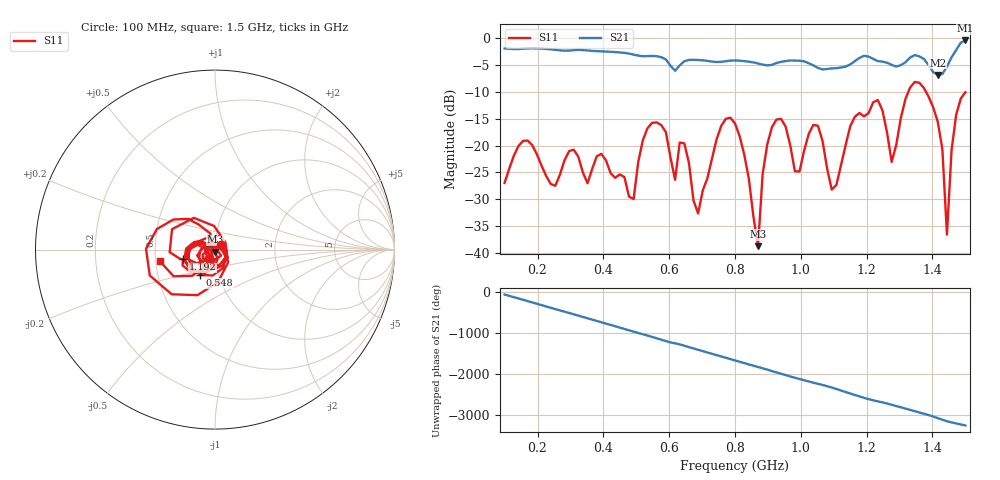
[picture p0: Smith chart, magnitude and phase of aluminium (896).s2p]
! NanoVNA-App
! Date: 2025-09-25 15:02:15
! Start: 100MHz Stop: 1,5GHz Points: 101
! S-Parameter data: F S11 S21 S12 S22
# Hz S RI R 50
!  Frequency  S11_Real  S11_Imag  S21_Real  S21_Imag  S12_Real  S12_Imag  S22_Real  S22_Imag
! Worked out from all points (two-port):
!   101 points, 100 MHz to 1.5 GHz, reference 50 ohm
!   highest |S21| = -0.43 dB at 1.5 GHz (marker M1); lowest = -6.9 dB at 1.416 GHz (marker M2)
!   |S21| within 3 dB of the highest: start of sweep to 567.2 MHz; 1.459 GHz to end of sweep (the widest 2 of 4)
!   lowest |S11| = -38.7 dB at 870 MHz (marker M3), VSWR 1.02, Z = 50.2 - j1.14 ohm
!   |S11| at or under -10 dB: start of sweep to 1.327 GHz; 1.38 GHz to end of sweep
!   S12 and S22 are empty: the file has one direction only
!   S11 on the Smith chart (normalised r, x): 100 MHz: 1.07, +0.06; 548 MHz: 0.82, -0.24; 1.192 GHz: 0.69, -0.08; 1.5 GHz: 0.53, -0.08
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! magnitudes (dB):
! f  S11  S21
! 100 MHz  -27.0  -1.9
! 156 MHz  -19.1  -2.0
! 338 MHz  -25.1  -2.2
! 492 MHz  -30.0  -3.1
! 548 MHz  -15.8  -3.3
! 576 MHz  -16.2  -3.5
! 646 MHz  -19.6  -4.3
! 688 MHz  -32.7  -4.1
! 800 MHz  -15.9  -4.2
! 870 MHz  -38.7  -4.7
! 912 MHz  -16.6  -5.0
! 996 MHz  -24.8  -4.2
! 1.038 GHz  -16.2  -5.1
! 1.094 GHz  -28.2  -5.6
! 1.192 GHz  -14.6  -3.3
! 1.234 GHz  -11.5  -4.3
! 1.276 GHz  -23.0  -5.0
! 1.346 GHz  -8.2  -3.1
! 1.416 GHz  -15.6  -6.9
! 1.444 GHz  -36.6  -5.3
! 1.458 GHz  -20.8  -3.6
! 1.5 GHz  -10.1  -0.4
